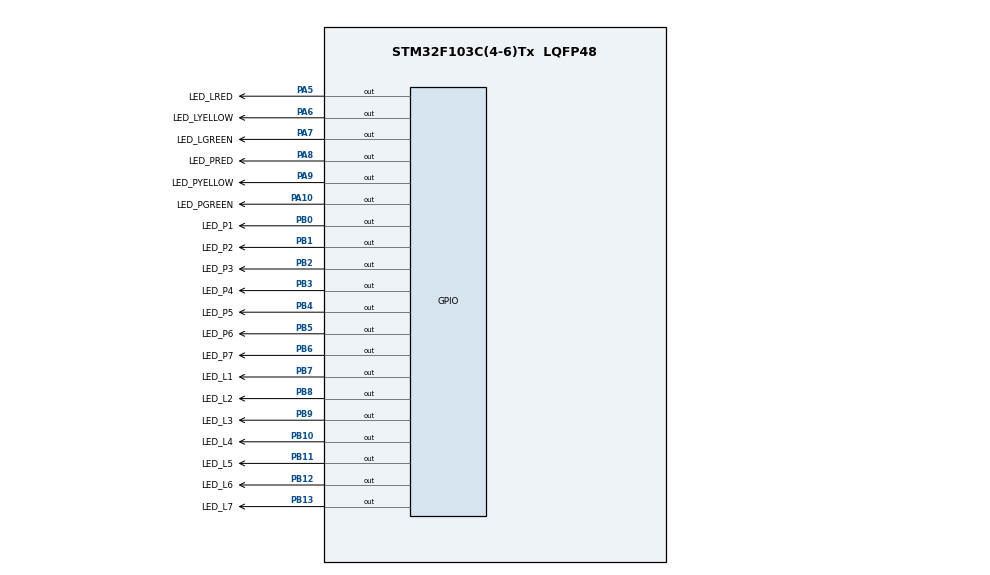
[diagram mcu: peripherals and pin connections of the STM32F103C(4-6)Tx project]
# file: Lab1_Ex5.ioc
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Mcu.Family=STM32F1
Mcu.Name=STM32F103C(4-6)Tx
Mcu.Package=LQFP48
NVIC.PriorityGroup=NVIC_PRIORITYGROUP_4
PA10.GPIO_Label=LED_PGREEN
PA10.Signal=GPIO_Output
PA5.GPIO_Label=LED_LRED
PA5.Signal=GPIO_Output
PA6.GPIO_Label=LED_LYELLOW
PA6.Signal=GPIO_Output
PA7.GPIO_Label=LED_LGREEN
PA7.Signal=GPIO_Output
PA8.GPIO_Label=LED_PRED
PA8.Signal=GPIO_Output
PA9.GPIO_Label=LED_PYELLOW
PA9.Signal=GPIO_Output
PB0.GPIO_Label=LED_P1
PB0.Signal=GPIO_Output
PB1.GPIO_Label=LED_P2
PB1.Signal=GPIO_Output
PB10.GPIO_Label=LED_L4
PB10.Signal=GPIO_Output
PB11.GPIO_Label=LED_L5
PB11.Signal=GPIO_Output
PB12.GPIO_Label=LED_L6
PB12.Signal=GPIO_Output
PB13.GPIO_Label=LED_L7
PB13.Signal=GPIO_Output
PB2.GPIO_Label=LED_P3
PB2.Signal=GPIO_Output
PB3.GPIO_Label=LED_P4
PB3.Signal=GPIO_Output
PB4.GPIO_Label=LED_P5
PB4.Signal=GPIO_Output
PB5.GPIO_Label=LED_P6
PB5.Signal=GPIO_Output
PB6.GPIO_Label=LED_P7
PB6.Signal=GPIO_Output
PB7.GPIO_Label=LED_L1
PB7.Signal=GPIO_Output
PB8.GPIO_Label=LED_L2
PB8.Signal=GPIO_Output
PB9.GPIO_Label=LED_L3
PB9.Signal=GPIO_Output
ProjectManager.HeapSize=0x200
ProjectManager.StackSize=0x400
ProjectManager.TargetToolchain=STM32CubeIDE
RCC.APB1Freq_Value=8000000
RCC.APB2Freq_Value=8000000
VP_SYS_VS_ND.Mode=No_Debug
board=custom

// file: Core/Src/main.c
/* USER CODE BEGIN Header */
/**
  ******************************************************************************
  * @file           : main.c
  * @brief          : Main program body
  ******************************************************************************
  * @attention
  *
  * <h2><center>&copy; Copyright (c) 2022 STMicroelectronics.
  * All rights reserved.</center></h2>
  *
  * This software component is licensed by ST under BSD 3-Clause license,
  * the "License"; You may not use this file except in compliance with the
  * License. You may obtain a copy of the License at:
  *                        opensource.org/licenses/BSD-3-Clause
  *
  ******************************************************************************
  */
/* USER CODE END Header */
#include "main.h"

void SystemClock_Config(void);
static void MX_GPIO_Init(void);

int main(void)
{

  /* MCU Configuration--------------------------------------------------------*/

  /* Reset of all peripherals, Initializes the Flash interface and the Systick. */
  HAL_Init();

  /* Configure the system clock */
  SystemClock_Config();

  /* Initialize all configured peripherals */
  MX_GPIO_Init();

  /* Infinite loop */
  /* USER CODE BEGIN WHILE */

  /* Khoi tao cac bien dem "counterL" va "counterP" co gia tri khoi tao ban dau lan luot la 5 va 3 tuong ung cho truong hop ban dau la luong L (Landscape) den RED va luong P (Portrait) den GREEN */
  /* Khoi tao bien "change" co gia tri ban dau la 0. Bien nay duoc dung de thong bao thay doi tu den GREEN sang den YELLOW */
  /* Khoi tao bien "sw" co gia tri ban dau la "P" (Portrait) de chi trang thai luong dang chay cua 4-way traffic light */
  int counterL = 5, counterP = 3, change = 0;
  char sw = 'P';
  while (1)
  {
    /* USER CODE END WHILE */

    /* USER CODE BEGIN 3 */
	  display7SEG(counterL--, counterP--); /* Goi ham hien thi LED 7 doan o ca 2 luong */

	  /* Truong hop "sw" = 'P' (Luong P duoc chay, luong L dung den RED) */
	  if (sw == 'P') {
		  HAL_GPIO_WritePin(LED_LRED_GPIO_Port , LED_LRED_Pin , GPIO_PIN_RESET); /* Thiet lap den RED cho luong L */
		  HAL_GPIO_WritePin(LED_LYELLOW_GPIO_Port , LED_LYELLOW_Pin , GPIO_PIN_SET);
		  HAL_GPIO_WritePin(LED_LGREEN_GPIO_Port , LED_LGREEN_Pin , GPIO_PIN_SET);
		  /* Trong khoang thoi gian 6 giay luong L dang den RED, thi o luong P ta se thiet lap 4 giay dau den GREEN va 2 giay sau den YELLOW */
		  if (counterL >= 0) {
			  if (counterP >= 0) {
				  /* "change" = 0 thi den GREEN, "change" = 1 thi den YELLOW */
				  if (change == 0) {
					  HAL_GPIO_WritePin(LED_PRED_GPIO_Port , LED_PRED_Pin , GPIO_PIN_SET); /* Thiet lap den GREEN cho luong P */
				  	  HAL_GPIO_WritePin(LED_PYELLOW_GPIO_Port , LED_PYELLOW_Pin , GPIO_PIN_SET);
				  	  HAL_GPIO_WritePin(LED_PGREEN_GPIO_Port , LED_PGREEN_Pin , GPIO_PIN_RESET);
				  }
				  else {
					  HAL_GPIO_WritePin(LED_PRED_GPIO_Port , LED_PRED_Pin , GPIO_PIN_SET); /* Thiet lap den YELLOW cho luong P */
					  HAL_GPIO_WritePin(LED_PYELLOW_GPIO_Port , LED_PYELLOW_Pin , GPIO_PIN_RESET);
					  HAL_GPIO_WritePin(LED_PGREEN_GPIO_Port , LED_PGREEN_Pin , GPIO_PIN_SET);
				  }
			  	}
			  else { /* Chuyen doi trang thai GREEN sang YELLOW o luong P */
				  change = 1;
				  counterP = 1;
			  }
		  }
		  else { /* Thiet lap lai cac thong so de chuyen luong giao thong sang luong L duoc chay, luong P dung lai (sw = L) */
			  sw = 'L';
			  counterL = 3;
			  counterP = 5;
			  change = 0;
		  }
	  }

	  /* Truong hop "sw" = 'L' (Luong L duoc chay, luong P dung den RED) */
	  else {
		  HAL_GPIO_WritePin(LED_PRED_GPIO_Port , LED_PRED_Pin , GPIO_PIN_RESET); /* Thiet lap den RED cho luong P */
		  HAL_GPIO_WritePin(LED_PYELLOW_GPIO_Port , LED_PYELLOW_Pin , GPIO_PIN_SET);
		  HAL_GPIO_WritePin(LED_PGREEN_GPIO_Port , LED_PGREEN_Pin , GPIO_PIN_SET);
		  /* Trong khoang thoi gian 6 giay luong P dang den RED, thi o luong L ta se thiet lap 4 giay dau den GREEN va 2 giay sau den YELLOW */
		  if (counterP >= 0) {
			  if (counterL >= 0) {
				  /* "change" = 0 thi den GREEN, "change" = 1 thi den YELLOW */
				  if (change == 0) {
					  HAL_GPIO_WritePin(LED_LRED_GPIO_Port , LED_LRED_Pin , GPIO_PIN_SET); /* Thiet lap den GREEN cho luong L */
				  	  HAL_GPIO_WritePin(LED_LYELLOW_GPIO_Port , LED_LYELLOW_Pin , GPIO_PIN_SET);
				  	  HAL_GPIO_WritePin(LED_LGREEN_GPIO_Port , LED_LGREEN_Pin , GPIO_PIN_RESET);
				  }
				  else {
					  HAL_GPIO_WritePin(LED_LRED_GPIO_Port , LED_LRED_Pin , GPIO_PIN_SET); /* Thiet lap den YELLOW cho luong L */
					  HAL_GPIO_WritePin(LED_LYELLOW_GPIO_Port , LED_LYELLOW_Pin , GPIO_PIN_RESET);
					  HAL_GPIO_WritePin(LED_LGREEN_GPIO_Port , LED_LGREEN_Pin , GPIO_PIN_SET);
				  }
			  	}
			  else { /* Chuyen doi trang thai GREEN sang YELLOW o luong L */
				  change = 1;
				  counterL = 1;
			  }
		  }
		  else { /* Thiet lap lai cac thong so de chuyen luong giao thong sang luong P duoc chay, luong L dung lai (sw = P) */
			  sw = 'P';
			  counterP = 3;
			  counterL = 5;
			  change = 0;
		  }
	  }
	  HAL_Delay(1000);
  }
  /* USER CODE END 3 */
}

void SystemClock_Config(void)
{
  RCC_OscInitTypeDef RCC_OscInitStruct = {0};
  RCC_ClkInitTypeDef RCC_ClkInitStruct = {0};

  /** Initializes the RCC Oscillators according to the specified parameters
  * in the RCC_OscInitTypeDef structure.
  */
  RCC_OscInitStruct.OscillatorType = RCC_OSCILLATORTYPE_HSI;
  RCC_OscInitStruct.HSIState = RCC_HSI_ON;
  RCC_OscInitStruct.HSICalibrationValue = RCC_HSICALIBRATION_DEFAULT;
  RCC_OscInitStruct.PLL.PLLState = RCC_PLL_NONE;
  if (HAL_RCC_OscConfig(&RCC_OscInitStruct) != HAL_OK)
  {
    Error_Handler();
  }
  /** Initializes the CPU, AHB and APB buses clocks
  */
  RCC_ClkInitStruct.ClockType = RCC_CLOCKTYPE_HCLK|RCC_CLOCKTYPE_SYSCLK
                              |RCC_CLOCKTYPE_PCLK1|RCC_CLOCKTYPE_PCLK2;
  RCC_ClkInitStruct.SYSCLKSource = RCC_SYSCLKSOURCE_HSI;
  RCC_ClkInitStruct.AHBCLKDivider = RCC_SYSCLK_DIV1;
  RCC_ClkInitStruct.APB1CLKDivider = RCC_HCLK_DIV1;
  RCC_ClkInitStruct.APB2CLKDivider = RCC_HCLK_DIV1;

  if (HAL_RCC_ClockConfig(&RCC_ClkInitStruct, FLASH_LATENCY_0) != HAL_OK)
  {
    Error_Handler();
  }
}

static void MX_GPIO_Init(void)
{
  GPIO_InitTypeDef GPIO_InitStruct = {0};

  /* GPIO Ports Clock Enable */
  __HAL_RCC_GPIOA_CLK_ENABLE();
  __HAL_RCC_GPIOB_CLK_ENABLE();

  /*Configure GPIO pin Output Level */
  HAL_GPIO_WritePin(GPIOA, LED_LRED_Pin|LED_LYELLOW_Pin|LED_LGREEN_Pin|LED_PRED_Pin
                          |LED_PYELLOW_Pin|LED_PGREEN_Pin, GPIO_PIN_RESET);

  /*Configure GPIO pin Output Level */
  HAL_GPIO_WritePin(GPIOB, LED_P1_Pin|LED_P2_Pin|LED_P3_Pin|LED_L4_Pin
                          |LED_L5_Pin|LED_L6_Pin|LED_L7_Pin|LED_P4_Pin
                          |LED_P5_Pin|LED_P6_Pin|LED_P7_Pin|LED_L1_Pin
                          |LED_L2_Pin|LED_L3_Pin, GPIO_PIN_RESET);

  /*Configure GPIO pins : LED_LRED_Pin LED_LYELLOW_Pin LED_LGREEN_Pin LED_PRED_Pin
                           LED_PYELLOW_Pin LED_PGREEN_Pin */
  GPIO_InitStruct.Pin = LED_LRED_Pin|LED_LYELLOW_Pin|LED_LGREEN_Pin|LED_PRED_Pin
                          |LED_PYELLOW_Pin|LED_PGREEN_Pin;
  GPIO_InitStruct.Mode = GPIO_MODE_OUTPUT_PP;
  GPIO_InitStruct.Pull = GPIO_NOPULL;
  GPIO_InitStruct.Speed = GPIO_SPEED_FREQ_LOW;
  HAL_GPIO_Init(GPIOA, &GPIO_InitStruct);

  /*Configure GPIO pins : LED_P1_Pin LED_P2_Pin LED_P3_Pin LED_L4_Pin
                           LED_L5_Pin LED_L6_Pin LED_L7_Pin LED_P4_Pin
                           LED_P5_Pin LED_P6_Pin LED_P7_Pin LED_L1_Pin
                           LED_L2_Pin LED_L3_Pin */
  GPIO_InitStruct.Pin = LED_P1_Pin|LED_P2_Pin|LED_P3_Pin|LED_L4_Pin
                          |LED_L5_Pin|LED_L6_Pin|LED_L7_Pin|LED_P4_Pin
                          |LED_P5_Pin|LED_P6_Pin|LED_P7_Pin|LED_L1_Pin
                          |LED_L2_Pin|LED_L3_Pin;
  GPIO_InitStruct.Mode = GPIO_MODE_OUTPUT_PP;
  GPIO_InitStruct.Pull = GPIO_NOPULL;
  GPIO_InitStruct.Speed = GPIO_SPEED_FREQ_LOW;
  HAL_GPIO_Init(GPIOB, &GPIO_InitStruct);

}

/* USER CODE BEGIN 4 */
void display7SEG(int counterL, int counterP) {
	/* Khoi tao mot day gom gia tri bit de hien thi cac chu so lan luot tu 0 toi 9 */
	unsigned char disp_arr[10] = {0x40, 0x79, 0x24, 0x30, 0x19, 0x12, 0x02, 0x78, 0x00, 0x10};

	/* Khoi tao cac bien "varL" va "varP" lan luot chua gia tri bit 7 doan cua cac bien "counterL" va "counterP" de hien thi con so can hien thi va cac bien "bit_varL", "bit_varP" */
	unsigned char bit_varL, bit_varP, varL, varP;
	varL = disp_arr[counterL];
	varP = disp_arr[counterP];

	/* Doi voi tung doan segment, bien bit_var se lay gia tri bit cua segment do de hien thi den (0 -> Sang, 1 -> Tat) */
	/* Den L1 va P1 */
	bit_varL = varL & 0x01;
	bit_varP = varP & 0x01;
	HAL_GPIO_WritePin(LED_P1_GPIO_Port, LED_P1_Pin, bit_varP);
	HAL_GPIO_WritePin(LED_L1_GPIO_Port, LED_L1_Pin, bit_varL);

	/* Den L2 va P2 */
	bit_varL = (varL>>1) & 0x01;
	bit_varP = (varP>>1) & 0x01;
	HAL_GPIO_WritePin(LED_P2_GPIO_Port, LED_P2_Pin, bit_varP);
	HAL_GPIO_WritePin(LED_L2_GPIO_Port, LED_L2_Pin, bit_varL);

	/* Den L3 va P3 */
	bit_varL = (varL>>2) & 0x01;
	bit_varP = (varP>>2) & 0x01;
	HAL_GPIO_WritePin(LED_P3_GPIO_Port, LED_P3_Pin, bit_varP);
	HAL_GPIO_WritePin(LED_L3_GPIO_Port, LED_L3_Pin, bit_varL);

	/* Den L4 va P4 */
	bit_varL = (varL>>3) & 0x01;
	bit_varP = (varP>>3) & 0x01;
	HAL_GPIO_WritePin(LED_P4_GPIO_Port, LED_P4_Pin, bit_varP);
	HAL_GPIO_WritePin(LED_L4_GPIO_Port, LED_L4_Pin, bit_varL);

	/* Den L5 va P5 */
	bit_varL = (varL>>4) & 0x01;
	bit_varP = (varP>>4) & 0x01;
	HAL_GPIO_WritePin(LED_P5_GPIO_Port, LED_P5_Pin, bit_varP);
	HAL_GPIO_WritePin(LED_L5_GPIO_Port, LED_L5_Pin, bit_varL);

	/* Den L6 va P6 */
	bit_varL = (varL>>5) & 0x01;
	bit_varP = (varP>>5) & 0x01;
	HAL_GPIO_WritePin(LED_P6_GPIO_Port, LED_P6_Pin, bit_varP);
	HAL_GPIO_WritePin(LED_L6_GPIO_Port, LED_L6_Pin, bit_varL);

	/* Den L7 va P7 */
	bit_varL = (varL>>6) & 0x01;
	bit_varP = (varP>>6) & 0x01;
	HAL_GPIO_WritePin(LED_P7_GPIO_Port, LED_P7_Pin, bit_varP);
	HAL_GPIO_WritePin(LED_L7_GPIO_Port, LED_L7_Pin, bit_varL);
}
/* USER CODE END 4 */

void Error_Handler(void)
{
  __disable_irq();
  while (1)
  {
  }
}

/************************ (C) COPYRIGHT STMicroelectronics *****END OF FILE****/
